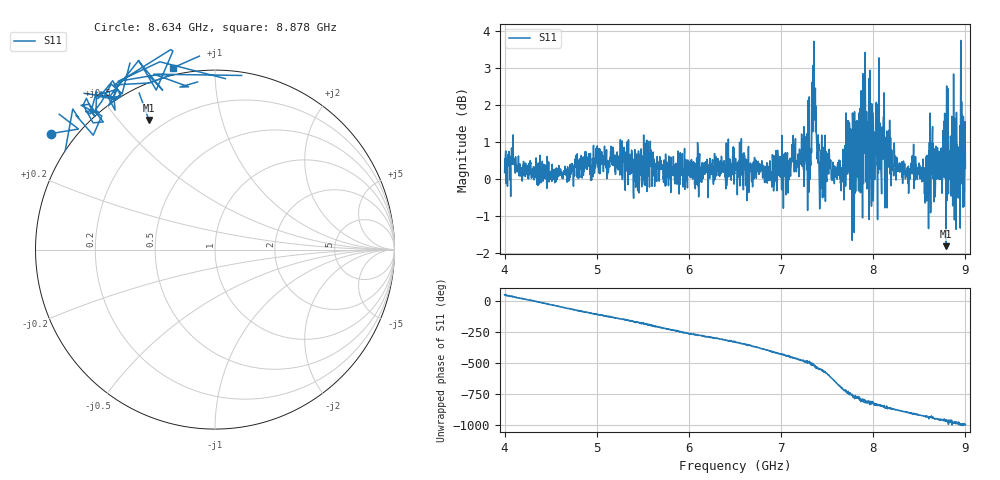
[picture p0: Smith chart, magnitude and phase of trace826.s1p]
! Created with skrf 1.8.0 (http://scikit-rf.org).
# Hz S RI R 50.0
!freq ReS11 ImS11
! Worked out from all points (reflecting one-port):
!   1601 points, 4 GHz to 9 GHz, reference 50 ohm
!   lowest |S11| = -1.8 dB at 8.791 GHz (marker M1), VSWR 9.56, Z = 7.17 + j30.2 ohm
!   phase of S11 starts at 53 deg and turns -1049 deg over the sweep
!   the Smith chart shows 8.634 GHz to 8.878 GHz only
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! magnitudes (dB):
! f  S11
! 4 GHz  0.2
! 4.625 GHz  0.0
! 5.25 GHz  0.1
! 5.875 GHz  0.2
! 6.5 GHz  0.3
! 6.825 GHz  0.3
! 7.125 GHz  0.5
! 7.306 GHz  2.2
! 7.359 GHz  1.7
! 7.406 GHz  0.8
! 7.441 GHz  1.2
! 7.659 GHz  0.1
! 7.719 GHz  0.6
! 7.75 GHz  -0.3
! 7.788 GHz  0.5
! 7.822 GHz  1.6
! 7.928 GHz  1.8
! 7.981 GHz  -0.7
! 8.05 GHz  2.0
! 8.066 GHz  0.9
! 8.375 GHz  0.1
! 8.581 GHz  -0.3
! 8.628 GHz  0.3
! 8.725 GHz  0.7
! 8.791 GHz  -1.8
! 8.919 GHz  -0.5
! 8.972 GHz  1.2
! 9 GHz  0.3
